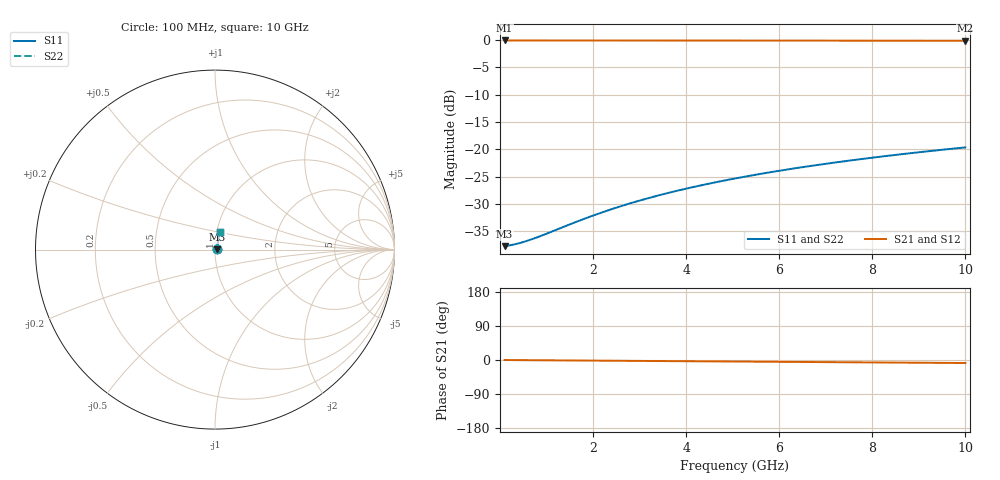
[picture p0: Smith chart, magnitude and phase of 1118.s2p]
# Hz S RI R 50.00
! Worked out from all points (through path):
!   100 points, 100 MHz to 10 GHz, reference 50 ohm
!   highest |S21| = -0.11 dB at 100 MHz (marker M1); lowest = -0.2 dB at 10 GHz (marker M2)
!   group delay of S21, straight-line fit = 2.22 ps
!   lowest |S11| = -37.7 dB at 100 MHz (marker M3), VSWR 1.03, Z = 51.3 + j0.104 ohm
!   |S11| at or under -10 dB: start of sweep to end of sweep
!   |S22| runs from -37.7 to -19.7 dB; largest |S21 - S12| = 0
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1e8  0.013 0.00102  0.987 -0.00138  0.987 -0.00138  0.013 0.00102
3e8  0.0131 0.00305  0.9869 -0.00414  0.9869 -0.00414  0.0131 0.00305
4e8  0.0132 0.00407  0.9868 -0.00551  0.9868 -0.00551  0.0132 0.00407
5e8  0.0132 0.00509  0.9868 -0.00689  0.9868 -0.00689  0.0132 0.00509
7e8  0.0133 0.00712  0.9867 -0.00965  0.9867 -0.00965  0.0133 0.00712
9e8  0.0134 0.00915  0.9866 -0.0124  0.9866 -0.0124  0.0134 0.00915
1.5e9  0.0138 0.0152  0.9862 -0.0207  0.9862 -0.0207  0.0138 0.0152
1.8e9  0.014 0.0183  0.986 -0.0248  0.986 -0.0248  0.014 0.0183
2.2e9  0.0143 0.0223  0.9857 -0.0303  0.9857 -0.0303  0.0143 0.0223
2.6e9  0.0146 0.0264  0.9854 -0.0358  0.9854 -0.0358  0.0146 0.0264
3e9  0.0149 0.0304  0.985 -0.0413  0.985 -0.0413  0.0149 0.0304
3.4e9  0.0153 0.0345  0.9846 -0.0468  0.9846 -0.0468  0.0153 0.0345
3.8e9  0.0158 0.0385  0.9841 -0.0522  0.9841 -0.0522  0.0158 0.0385
4.2e9  0.0163 0.0426  0.9836 -0.0577  0.9836 -0.0577  0.0163 0.0426
4.6e9  0.0168 0.0466  0.983 -0.0632  0.983 -0.0632  0.0168 0.0466
5.1e9  0.0176 0.0516  0.9823 -0.07  0.9823 -0.07  0.0176 0.0516
5.9e9  0.0189 0.0596  0.9809 -0.0809  0.9809 -0.0809  0.0189 0.0596
6.7e9  0.0203 0.0676  0.9793 -0.0918  0.9793 -0.0918  0.0203 0.0676
7.5e9  0.022 0.0755  0.9776 -0.1026  0.9776 -0.1026  0.022 0.0755
8.4e9  0.0241 0.0844  0.9755 -0.1147  0.9755 -0.1147  0.0241 0.0844
9.2e9  0.0261 0.0922  0.9733 -0.1255  0.9733 -0.1255  0.0261 0.0922
1e10  0.0283 0.1  0.971 -0.1361  0.971 -0.1361  0.0283 0.1
